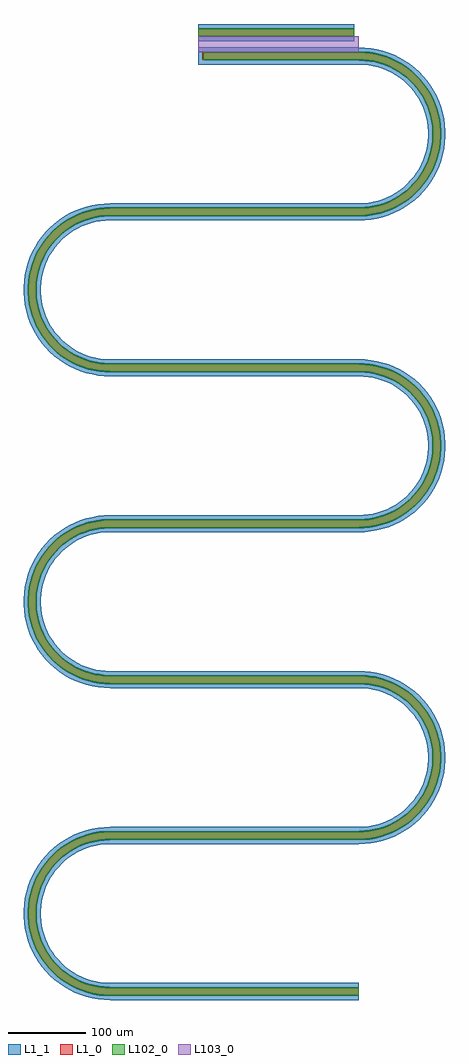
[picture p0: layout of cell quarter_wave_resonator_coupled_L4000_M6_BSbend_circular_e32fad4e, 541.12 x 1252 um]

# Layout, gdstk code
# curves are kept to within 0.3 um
from math import pi, radians
import gdstk
lib = gdstk.Library(unit=1e-6, precision=1e-09)
def R(c, l, rs):  # rectangles x0, y0, x1, y1
    for r in rs: c.add(gdstk.rectangle(r[:2], r[2:], *l))
def P(c, l, *ps):  # polygons
    for p in ps: c.add(gdstk.Polygon(p, *l))
L1_0 = (1, 0)
L1_1 = (1, 1)
L102_0 = (102, 0)
L103_0 = (103, 0)

straight_l200_cscpw_n2 = lib.new_cell('straight_L200_CScpw_N2')
R(straight_l200_cscpw_n2, L1_0, [(0,-5,200,5)])
R(straight_l200_cscpw_n2, L1_1, [(0,-11,200,-5), (0,5,200,11)])
R(straight_l200_cscpw_n2, L102_0, [(0,-5,200,5)])

coupler_straight_l200_g2 = lib.new_cell('coupler_straight_L200_G20_CScpw_CSNRcpw_RO6')
R(coupler_straight_l200_g2, L103_0, [(0,5,206,25)])
coupler_straight_l200_g2.add(gdstk.Reference(straight_l200_cscpw_n2, (6,0)))
coupler_straight_l200_g2.add(gdstk.Reference(straight_l200_cscpw_n2, (0,30)))

rectangle_s6_22_lm1_etch = lib.new_cell('rectangle_S6_22_LM1_ETCH_CTrue_PTNone_PO180_90_0_m90')
R(rectangle_s6_22_lm1_etch, L1_1, [(-3,-11,3,11)])

rectangle_s1_10_lm1_draw = lib.new_cell('rectangle_S1_10_LM1_DRAW_CTrue_PTNone_PO180_90_0_m90')
R(rectangle_s1_10_lm1_draw, L1_0, [(-0.5,-5,0.5,5)])

open_2_port_cscpw = lib.new_cell('open_2_port_CScpw')
open_2_port_cscpw.add(gdstk.Reference(rectangle_s6_22_lm1_etch, (-3,0)))
open_2_port_cscpw.add(gdstk.Reference(rectangle_s1_10_lm1_draw, (-0.5,0)))

resonator_meander_l3800_ = lib.new_cell('resonator_meander_L3800_M6_BSbend_circular_CScpw_EWBFalse')
P(resonator_meander_l3800_, L1_0, [(-903.665,-104.939),(-918.234,-103.408),(-932.448,-99.864),(-939.335,-97.357),(-952.502,-90.935),(-964.646,-82.744),(-975.533,-72.941),(-980.437,-67.495),(-989.048,-55.643),(-995.925,-42.709),(-1000.935,-28.943),(-1003.981,-14.614),(-1005,0),(-1005,319.238),(-1005.928,332.459),(-1008.683,345.423),(-1013.216,357.877),(-1019.438,369.579),(-1027.228,380.301),(-1036.435,389.834),(-1046.878,397.994),(-1058.356,404.621),(-1070.644,409.585),(-1083.504,412.792),(-1090.07,413.715),(-1096.685,414.177),(-1109.93,413.715),(-1122.982,411.413),(-1135.586,407.318),(-1141.644,404.621),(-1153.122,397.994),(-1158.486,394.097),(-1168.335,385.228),(-1172.772,380.301),(-1180.562,369.579),(-1186.784,357.877),(-1189.268,351.729),(-1192.921,338.989),(-1194.072,332.459),(-1195,319.238),(-1195,0),(-1205,0),(-1205,319.238),(-1204.747,326.563),(-1202.708,341.069),(-1198.671,355.151),(-1195.925,361.947),(-1189.048,374.881),(-1180.437,386.733),(-1170.261,397.27),(-1164.646,401.982),(-1152.502,410.173),(-1139.335,416.595),(-1125.403,421.122),(-1110.976,423.666),(-1096.335,424.177),(-1081.766,422.646),(-1067.552,419.102),(-1060.665,416.595),(-1047.498,410.173),(-1035.354,401.982),(-1024.467,392.179),(-1019.563,386.733),(-1010.952,374.881),(-1004.075,361.947),(-1001.329,355.151),(-999.065,348.181),(-996.019,333.852),(-995,319.238),(-995,0),(-994.072,-13.221),(-991.317,-26.185),(-986.784,-38.639),(-980.562,-50.341),(-972.772,-61.063),(-968.335,-65.99),(-958.486,-74.859),(-947.498,-82.27),(-935.586,-88.08),(-922.982,-92.175),(-916.496,-93.554),(-903.315,-94.939),(-890.07,-94.477),(-883.504,-93.554),(-877.018,-92.175),(-864.414,-88.08),(-858.356,-85.383),(-846.878,-78.756),(-841.514,-74.859),(-831.665,-65.99),(-827.228,-61.063),(-819.438,-50.341),(-813.216,-38.639),(-808.683,-26.185),(-807.079,-19.751),(-805.928,-13.221),(-805,0),(-805,319.238),(-804.747,326.563),(-802.708,341.069),(-798.671,355.151),(-795.925,361.947),(-789.048,374.881),(-780.437,386.733),(-770.261,397.27),(-764.646,401.982),(-752.502,410.173),(-739.335,416.595),(-725.403,421.122),(-710.976,423.666),(-703.665,424.177),(-689.024,423.666),(-674.597,421.122),(-660.665,416.595),(-647.498,410.173),(-641.283,406.289),(-635.354,401.982),(-624.467,392.179),(-615.051,380.957),(-610.952,374.881),(-604.075,361.947),(-599.065,348.181),(-596.019,333.852),(-595,319.238),(-595,0),(-594.072,-13.221),(-592.921,-19.751),(-589.268,-32.491),(-586.784,-38.639),(-580.562,-50.341),(-572.772,-61.063),(-568.335,-65.99),(-558.486,-74.859),(-547.498,-82.27),(-541.644,-85.383),(-529.356,-90.347),(-516.496,-93.554),(-509.93,-94.477),(-503.315,-94.939),(-490.07,-94.477),(-483.504,-93.554),(-470.644,-90.347),(-458.356,-85.383),(-452.502,-82.27),(-441.514,-74.859),(-436.435,-70.596),(-427.228,-61.063),(-423.146,-55.838),(-419.438,-50.341),(-413.216,-38.639),(-408.683,-26.185),(-407.079,-19.751),(-405.928,-13.221),(-405,0),(-405,319.238),(-404.747,326.563),(-402.708,341.069),(-398.671,355.151),(-392.712,368.534),(-384.949,380.957),(-375.533,392.179),(-364.646,401.982),(-352.502,410.173),(-339.335,416.595),(-332.448,419.102),(-318.234,422.646),(-303.665,424.177),(-289.024,423.666),(-281.766,422.646),(-267.552,419.102),(-260.665,416.595),(-247.498,410.173),(-235.354,401.982),(-224.467,392.179),(-219.563,386.733),(-210.952,374.881),(-207.288,368.534),(-201.329,355.151),(-199.065,348.181),(-196.019,333.852),(-195,319.238),(-194.766,-6.627),(-192.921,-19.751),(-189.268,-32.491),(-183.877,-44.598),(-176.854,-55.838),(-168.335,-65.99),(-158.486,-74.859),(-153.122,-78.756),(-141.644,-85.383),(-129.356,-90.347),(-116.496,-93.554),(-103.315,-94.939),(-90.07,-94.477),(-83.504,-93.554),(-70.644,-90.347),(-58.356,-85.383),(-46.878,-78.756),(-36.435,-70.596),(-27.228,-61.063),(-19.438,-50.341),(-13.216,-38.639),(-10.732,-32.491),(-7.079,-19.751),(-5.928,-13.221),(-5,0),(5,0),(3.981,-14.614),(0.935,-28.943),(-1.329,-35.913),(-7.288,-49.296),(-15.051,-61.719),(-24.467,-72.941),(-35.354,-82.744),(-47.498,-90.935),(-60.665,-97.357),(-67.552,-99.864),(-81.766,-103.408),(-96.335,-104.939),(-110.976,-104.428),(-118.234,-103.408),(-132.448,-99.864),(-139.335,-97.357),(-152.502,-90.935),(-164.646,-82.744),(-175.533,-72.941),(-184.949,-61.719),(-192.712,-49.296),(-198.671,-35.913),(-202.708,-21.831),(-204.747,-7.325),(-205,319.238),(-205.928,332.459),(-208.683,345.423),(-213.216,357.877),(-219.438,369.579),(-223.146,375.076),(-231.665,385.228),(-241.514,394.097),(-246.878,397.994),(-258.356,404.621),(-264.414,407.318),(-277.018,411.413),(-283.504,412.792),(-296.685,414.177),(-309.93,413.715),(-316.496,412.792),(-329.356,409.585),(-341.644,404.621),(-353.122,397.994),(-358.486,394.097),(-368.335,385.228),(-376.854,375.076),(-383.877,363.836),(-389.268,351.729),(-392.921,338.989),(-394.072,332.459),(-395,319.238),(-395,0),(-395.253,-7.325),(-397.292,-21.831),(-401.329,-35.913),(-404.075,-42.709),(-410.952,-55.643),(-415.051,-61.719),(-419.563,-67.495),(-429.739,-78.032),(-435.354,-82.744),(-447.498,-90.935),(-460.665,-97.357),(-467.552,-99.864),(-481.766,-103.408),(-489.024,-104.428),(-496.335,-104.939),(-510.976,-104.428),(-518.234,-103.408),(-532.448,-99.864),(-539.335,-97.357),(-552.502,-90.935),(-564.646,-82.744),(-575.533,-72.941),(-580.437,-67.495),(-589.048,-55.643),(-595.925,-42.709),(-598.671,-35.913),(-600.935,-28.943),(-603.981,-14.614),(-605,0),(-605,319.238),(-605.928,332.459),(-608.683,345.423),(-613.216,357.877),(-619.438,369.579),(-623.146,375.076),(-631.665,385.228),(-641.514,394.097),(-646.878,397.994),(-658.356,404.621),(-664.414,407.318),(-677.018,411.413),(-690.07,413.715),(-696.685,414.177),(-709.93,413.715),(-722.982,411.413),(-735.586,407.318),(-741.644,404.621),(-753.122,397.994),(-763.565,389.834),(-772.772,380.301),(-780.562,369.579),(-786.784,357.877),(-789.268,351.729),(-792.921,338.989),(-794.072,332.459),(-795,319.238),(-795,0),(-796.019,-14.614),(-799.065,-28.943),(-801.329,-35.913),(-804.075,-42.709),(-810.952,-55.643),(-819.563,-67.495),(-829.739,-78.032),(-841.283,-87.051),(-853.97,-94.376),(-867.552,-99.864),(-881.766,-103.408),(-889.024,-104.428)])
P(resonator_meander_l3800_, L1_1, [(-903.874,-110.939),(-919.276,-109.32),(-934.303,-105.574),(-941.584,-102.924),(-955.503,-96.135),(-968.343,-87.474),(-979.852,-77.112),(-985.036,-71.354),(-994.139,-58.825),(-1001.41,-45.15),(-1006.706,-30.598),(-1009.926,-15.449),(-1011,0),(-1011,319.238),(-1011.873,331.623),(-1014.454,343.768),(-1018.701,355.435),(-1024.529,366.397),(-1031.827,376.442),(-1040.452,385.373),(-1045.21,389.366),(-1055.503,396.308),(-1066.663,401.751),(-1072.5,403.876),(-1084.546,406.879),(-1090.698,407.744),(-1103.106,408.177),(-1109.302,407.744),(-1121.529,405.588),(-1127.5,403.876),(-1139.012,399.225),(-1149.764,393.017),(-1154.79,389.366),(-1159.548,385.373),(-1168.173,376.442),(-1175.471,366.397),(-1178.576,361.018),(-1181.299,355.435),(-1185.546,343.768),(-1188.127,331.623),(-1189,319.238),(-1189,0),(-1195,0),(-1195,319.238),(-1194.072,332.459),(-1192.921,338.989),(-1189.268,351.729),(-1186.784,357.877),(-1180.562,369.579),(-1172.772,380.301),(-1163.565,389.834),(-1153.122,397.994),(-1141.644,404.621),(-1135.586,407.318),(-1122.982,411.413),(-1109.93,413.715),(-1103.315,414.177),(-1090.07,413.715),(-1077.018,411.413),(-1064.414,407.318),(-1058.356,404.621),(-1046.878,397.994),(-1036.435,389.834),(-1027.228,380.301),(-1019.438,369.579),(-1013.216,357.877),(-1010.732,351.729),(-1007.079,338.989),(-1005.928,332.459),(-1005,319.238),(-1005,0),(-1003.981,-14.614),(-1000.935,-28.943),(-995.925,-42.709),(-989.048,-55.643),(-980.437,-67.495),(-975.533,-72.941),(-964.646,-82.744),(-952.502,-90.935),(-939.335,-97.357),(-932.448,-99.864),(-918.234,-103.408),(-903.665,-104.939),(-889.024,-104.428),(-881.766,-103.408),(-867.552,-99.864),(-860.665,-97.357),(-847.498,-90.935),(-841.283,-87.051),(-835.354,-82.744),(-824.467,-72.941),(-819.563,-67.495),(-810.952,-55.643),(-804.075,-42.709),(-801.329,-35.913),(-797.292,-21.831),(-795.253,-7.325),(-795,0),(-795,319.238),(-794.072,332.459),(-792.921,338.989),(-789.268,351.729),(-786.784,357.877),(-780.562,369.579),(-772.772,380.301),(-763.565,389.834),(-753.122,397.994),(-741.644,404.621),(-735.586,407.318),(-722.982,411.413),(-709.93,413.715),(-703.315,414.177),(-690.07,413.715),(-677.018,411.413),(-664.414,407.318),(-658.356,404.621),(-646.878,397.994),(-641.514,394.097),(-631.665,385.228),(-623.146,375.076),(-619.438,369.579),(-613.216,357.877),(-608.683,345.423),(-605.928,332.459),(-605,319.238),(-605,0),(-603.981,-14.614),(-600.935,-28.943),(-598.671,-35.913),(-595.925,-42.709),(-589.048,-55.643),(-580.437,-67.495),(-575.533,-72.941),(-564.646,-82.744),(-552.502,-90.935),(-539.335,-97.357),(-532.448,-99.864),(-518.234,-103.408),(-510.976,-104.428),(-503.665,-104.939),(-489.024,-104.428),(-481.766,-103.408),(-467.552,-99.864),(-460.665,-97.357),(-447.498,-90.935),(-435.354,-82.744),(-429.739,-78.032),(-419.563,-67.495),(-415.051,-61.719),(-410.952,-55.643),(-404.075,-42.709),(-401.329,-35.913),(-397.292,-21.831),(-395.253,-7.325),(-395,0),(-395,319.238),(-394.072,332.459),(-392.921,338.989),(-389.268,351.729),(-383.877,363.836),(-376.854,375.076),(-368.335,385.228),(-358.486,394.097),(-353.122,397.994),(-341.644,404.621),(-329.356,409.585),(-316.496,412.792),(-303.315,414.177),(-290.07,413.715),(-283.504,412.792),(-277.018,411.413),(-264.414,407.318),(-258.356,404.621),(-246.878,397.994),(-241.514,394.097),(-231.665,385.228),(-223.146,375.076),(-219.438,369.579),(-213.216,357.877),(-208.683,345.423),(-205.928,332.459),(-205,319.238),(-204.747,-7.325),(-202.708,-21.831),(-198.671,-35.913),(-195.925,-42.709),(-189.048,-55.643),(-180.437,-67.495),(-170.261,-78.032),(-158.717,-87.051),(-146.03,-94.376),(-132.448,-99.864),(-118.234,-103.408),(-103.665,-104.939),(-89.024,-104.428),(-81.766,-103.408),(-67.552,-99.864),(-53.97,-94.376),(-41.283,-87.051),(-29.739,-78.032),(-19.563,-67.495),(-10.952,-55.643),(-4.075,-42.709),(-1.329,-35.913),(0.935,-28.943),(3.981,-14.614),(5,0),(11,0),(9.926,-15.449),(6.706,-30.598),(1.41,-45.15),(-5.861,-58.825),(-14.964,-71.354),(-25.722,-82.494),(-37.926,-92.029),(-44.497,-96.135),(-58.416,-102.924),(-73.145,-107.709),(-88.397,-110.399),(-96.126,-110.939),(-111.603,-110.399),(-126.855,-107.709),(-141.584,-102.924),(-155.503,-96.135),(-162.074,-92.029),(-174.278,-82.494),(-185.036,-71.354),(-194.139,-58.825),(-201.41,-45.15),(-204.312,-37.967),(-208.581,-23.08),(-210.736,-7.743),(-211,319.238),(-211.873,331.623),(-214.454,343.768),(-218.701,355.435),(-221.424,361.018),(-228.003,371.547),(-231.827,376.442),(-240.452,385.373),(-250.236,393.017),(-260.988,399.225),(-272.5,403.876),(-278.471,405.588),(-290.698,407.744),(-296.894,408.177),(-309.302,407.744),(-315.454,406.879),(-327.5,403.876),(-339.012,399.225),(-349.764,393.017),(-359.548,385.373),(-368.173,376.442),(-375.471,366.397),(-381.299,355.435),(-385.546,343.768),(-387.049,337.741),(-388.127,331.623),(-389,319.238),(-389,0),(-389.264,-7.743),(-391.419,-23.08),(-395.688,-37.967),(-398.59,-45.15),(-405.861,-58.825),(-410.194,-65.248),(-420.148,-77.112),(-425.722,-82.494),(-437.926,-92.029),(-444.497,-96.135),(-458.416,-102.924),(-465.697,-105.574),(-480.724,-109.32),(-488.397,-110.399),(-496.126,-110.939),(-511.603,-110.399),(-519.276,-109.32),(-534.303,-105.574),(-541.584,-102.924),(-555.503,-96.135),(-568.343,-87.474),(-579.852,-77.112),(-585.036,-71.354),(-594.139,-58.825),(-601.41,-45.15),(-604.312,-37.967),(-608.581,-23.08),(-609.926,-15.449),(-611,0),(-611,319.238),(-611.873,331.623),(-614.454,343.768),(-618.701,355.435),(-621.424,361.018),(-628.003,371.547),(-631.827,376.442),(-640.452,385.373),(-650.236,393.017),(-660.988,399.225),(-672.5,403.876),(-678.471,405.588),(-690.698,407.744),(-696.894,408.177),(-709.302,407.744),(-721.529,405.588),(-727.5,403.876),(-739.012,399.225),(-749.764,393.017),(-759.548,385.373),(-768.173,376.442),(-775.471,366.397),(-781.299,355.435),(-785.546,343.768),(-787.049,337.741),(-788.127,331.623),(-789,319.238),(-789,0),(-790.074,-15.449),(-791.419,-23.08),(-795.688,-37.967),(-798.59,-45.15),(-805.861,-58.825),(-814.964,-71.354),(-825.722,-82.494),(-837.926,-92.029),(-851.338,-99.772),(-865.697,-105.574),(-880.724,-109.32),(-888.397,-110.399)],
  [(-903.315,-94.939),(-916.496,-93.554),(-922.982,-92.175),(-935.586,-88.08),(-947.498,-82.27),(-958.486,-74.859),(-968.335,-65.99),(-972.772,-61.063),(-980.562,-50.341),(-986.784,-38.639),(-991.317,-26.185),(-994.072,-13.221),(-995,0),(-995,319.238),(-996.019,333.852),(-999.065,348.181),(-1004.075,361.947),(-1010.952,374.881),(-1019.563,386.733),(-1029.739,397.27),(-1041.283,406.289),(-1053.97,413.614),(-1067.552,419.102),(-1081.766,422.646),(-1089.024,423.666),(-1096.335,424.177),(-1110.976,423.666),(-1118.234,422.646),(-1132.448,419.102),(-1146.03,413.614),(-1152.502,410.173),(-1164.646,401.982),(-1175.533,392.179),(-1180.437,386.733),(-1189.048,374.881),(-1195.925,361.947),(-1198.671,355.151),(-1200.935,348.181),(-1203.981,333.852),(-1205,319.238),(-1205,0),(-1211,0),(-1211,319.238),(-1210.736,326.981),(-1208.581,342.318),(-1204.312,357.205),(-1201.41,364.388),(-1194.139,378.063),(-1185.036,390.592),(-1174.278,401.732),(-1162.074,411.267),(-1155.503,415.373),(-1141.584,422.162),(-1126.855,426.947),(-1111.603,429.637),(-1103.874,430.177),(-1088.397,429.637),(-1073.145,426.947),(-1058.416,422.162),(-1044.497,415.373),(-1037.926,411.267),(-1025.722,401.732),(-1014.964,390.592),(-1005.861,378.063),(-998.59,364.388),(-995.688,357.205),(-991.419,342.318),(-990.074,334.687),(-989,319.238),(-989,0),(-988.127,-12.385),(-985.546,-24.53),(-981.299,-36.197),(-975.471,-47.159),(-968.173,-57.204),(-959.548,-66.135),(-954.79,-70.128),(-944.497,-77.07),(-933.337,-82.513),(-921.529,-86.35),(-909.302,-88.506),(-903.106,-88.939),(-890.698,-88.506),(-884.546,-87.641),(-872.5,-84.638),(-866.663,-82.513),(-860.988,-79.987),(-850.236,-73.779),(-840.452,-66.135),(-831.827,-57.204),(-828.003,-52.309),(-824.529,-47.159),(-818.701,-36.197),(-814.454,-24.53),(-812.951,-18.503),(-811.873,-12.385),(-811,0),(-811,319.238),(-810.736,326.981),(-808.581,342.318),(-804.312,357.205),(-801.41,364.388),(-794.139,378.063),(-785.036,390.592),(-774.278,401.732),(-762.074,411.267),(-755.503,415.373),(-741.584,422.162),(-726.855,426.947),(-711.603,429.637),(-703.874,430.177),(-688.397,429.637),(-673.145,426.947),(-658.416,422.162),(-644.497,415.373),(-637.926,411.267),(-625.722,401.732),(-614.964,390.592),(-605.861,378.063),(-598.59,364.388),(-595.688,357.205),(-591.419,342.318),(-590.074,334.687),(-589,319.238),(-589,0),(-588.127,-12.385),(-587.049,-18.503),(-583.626,-30.437),(-581.299,-36.197),(-575.471,-47.159),(-568.173,-57.204),(-559.548,-66.135),(-554.79,-70.128),(-544.497,-77.07),(-539.012,-79.987),(-527.5,-84.638),(-521.529,-86.35),(-509.302,-88.506),(-503.106,-88.939),(-490.698,-88.506),(-478.471,-86.35),(-472.5,-84.638),(-460.988,-79.987),(-455.503,-77.07),(-445.21,-70.128),(-440.452,-66.135),(-431.827,-57.204),(-428.003,-52.309),(-424.529,-47.159),(-418.701,-36.197),(-414.454,-24.53),(-412.951,-18.503),(-411.873,-12.385),(-411,0),(-411,319.238),(-410.736,326.981),(-408.581,342.318),(-404.312,357.205),(-398.013,371.352),(-389.806,384.486),(-379.852,396.35),(-368.343,406.712),(-355.503,415.373),(-341.584,422.162),(-334.303,424.812),(-319.276,428.558),(-303.874,430.177),(-288.397,429.637),(-280.724,428.558),(-265.697,424.812),(-258.416,422.162),(-244.497,415.373),(-237.926,411.267),(-231.657,406.712),(-220.148,396.35),(-210.194,384.486),(-205.861,378.063),(-198.59,364.388),(-193.294,349.836),(-190.074,334.687),(-189,319.238),(-188.777,-6.208),(-187.049,-18.503),(-183.626,-30.437),(-178.576,-41.78),(-171.997,-52.309),(-164.016,-61.82),(-154.79,-70.128),(-149.764,-73.779),(-139.012,-79.987),(-127.5,-84.638),(-115.454,-87.641),(-103.106,-88.939),(-90.698,-88.506),(-78.471,-86.35),(-72.5,-84.638),(-60.988,-79.987),(-50.236,-73.779),(-40.452,-66.135),(-31.827,-57.204),(-24.529,-47.159),(-18.701,-36.197),(-16.374,-30.437),(-12.951,-18.503),(-11.873,-12.385),(-11,0),(-5,0),(-5.928,-13.221),(-7.079,-19.751),(-10.732,-32.491),(-16.123,-44.598),(-23.146,-55.838),(-31.665,-65.99),(-41.514,-74.859),(-46.878,-78.756),(-58.356,-85.383),(-70.644,-90.347),(-83.504,-93.554),(-96.685,-94.939),(-109.93,-94.477),(-116.496,-93.554),(-129.356,-90.347),(-141.644,-85.383),(-153.122,-78.756),(-158.486,-74.859),(-168.335,-65.99),(-176.854,-55.838),(-183.877,-44.598),(-189.268,-32.491),(-192.921,-19.751),(-194.766,-6.627),(-195,319.238),(-196.019,333.852),(-199.065,348.181),(-201.329,355.151),(-207.288,368.534),(-210.952,374.881),(-219.563,386.733),(-224.467,392.179),(-235.354,401.982),(-247.498,410.173),(-260.665,416.595),(-267.552,419.102),(-281.766,422.646),(-296.335,424.177),(-310.976,423.666),(-318.234,422.646),(-332.448,419.102),(-339.335,416.595),(-352.502,410.173),(-364.646,401.982),(-375.533,392.179),(-384.949,380.957),(-392.712,368.534),(-398.671,355.151),(-402.708,341.069),(-404.747,326.563),(-405,319.238),(-405,0),(-405.928,-13.221),(-407.079,-19.751),(-408.683,-26.185),(-413.216,-38.639),(-419.438,-50.341),(-423.146,-55.838),(-427.228,-61.063),(-436.435,-70.596),(-441.514,-74.859),(-452.502,-82.27),(-458.356,-85.383),(-470.644,-90.347),(-483.504,-93.554),(-490.07,-94.477),(-496.685,-94.939),(-509.93,-94.477),(-516.496,-93.554),(-529.356,-90.347),(-541.644,-85.383),(-547.498,-82.27),(-558.486,-74.859),(-568.335,-65.99),(-572.772,-61.063),(-580.562,-50.341),(-586.784,-38.639),(-589.268,-32.491),(-592.921,-19.751),(-594.072,-13.221),(-595,0),(-595,319.238),(-596.019,333.852),(-599.065,348.181),(-604.075,361.947),(-610.952,374.881),(-615.051,380.957),(-624.467,392.179),(-635.354,401.982),(-641.283,406.289),(-647.498,410.173),(-660.665,416.595),(-674.597,421.122),(-689.024,423.666),(-696.335,424.177),(-710.976,423.666),(-725.403,421.122),(-739.335,416.595),(-752.502,410.173),(-764.646,401.982),(-770.261,397.27),(-780.437,386.733),(-789.048,374.881),(-795.925,361.947),(-798.671,355.151),(-802.708,341.069),(-804.747,326.563),(-805,319.238),(-805,0),(-805.928,-13.221),(-807.079,-19.751),(-810.732,-32.491),(-813.216,-38.639),(-819.438,-50.341),(-827.228,-61.063),(-836.435,-70.596),(-846.878,-78.756),(-858.356,-85.383),(-864.414,-88.08),(-877.018,-92.175),(-890.07,-94.477)])
P(resonator_meander_l3800_, L102_0, [(-903.665,-104.939),(-918.234,-103.408),(-932.448,-99.864),(-939.335,-97.357),(-952.502,-90.935),(-964.646,-82.744),(-975.533,-72.941),(-980.437,-67.495),(-989.048,-55.643),(-995.925,-42.709),(-1000.935,-28.943),(-1003.981,-14.614),(-1005,0),(-1005,319.238),(-1005.928,332.459),(-1008.683,345.423),(-1013.216,357.877),(-1019.438,369.579),(-1027.228,380.301),(-1036.435,389.834),(-1046.878,397.994),(-1058.356,404.621),(-1070.644,409.585),(-1083.504,412.792),(-1090.07,413.715),(-1096.685,414.177),(-1109.93,413.715),(-1122.982,411.413),(-1135.586,407.318),(-1141.644,404.621),(-1153.122,397.994),(-1158.486,394.097),(-1168.335,385.228),(-1172.772,380.301),(-1180.562,369.579),(-1186.784,357.877),(-1189.268,351.729),(-1192.921,338.989),(-1194.072,332.459),(-1195,319.238),(-1195,0),(-1205,0),(-1205,319.238),(-1204.747,326.563),(-1202.708,341.069),(-1198.671,355.151),(-1195.925,361.947),(-1189.048,374.881),(-1180.437,386.733),(-1170.261,397.27),(-1164.646,401.982),(-1152.502,410.173),(-1139.335,416.595),(-1125.403,421.122),(-1110.976,423.666),(-1096.335,424.177),(-1081.766,422.646),(-1067.552,419.102),(-1060.665,416.595),(-1047.498,410.173),(-1035.354,401.982),(-1024.467,392.179),(-1019.563,386.733),(-1010.952,374.881),(-1004.075,361.947),(-1001.329,355.151),(-999.065,348.181),(-996.019,333.852),(-995,319.238),(-995,0),(-994.072,-13.221),(-991.317,-26.185),(-986.784,-38.639),(-980.562,-50.341),(-972.772,-61.063),(-968.335,-65.99),(-958.486,-74.859),(-947.498,-82.27),(-935.586,-88.08),(-922.982,-92.175),(-916.496,-93.554),(-903.315,-94.939),(-890.07,-94.477),(-883.504,-93.554),(-877.018,-92.175),(-864.414,-88.08),(-858.356,-85.383),(-846.878,-78.756),(-841.514,-74.859),(-831.665,-65.99),(-827.228,-61.063),(-819.438,-50.341),(-813.216,-38.639),(-808.683,-26.185),(-807.079,-19.751),(-805.928,-13.221),(-805,0),(-805,319.238),(-804.747,326.563),(-802.708,341.069),(-798.671,355.151),(-795.925,361.947),(-789.048,374.881),(-780.437,386.733),(-770.261,397.27),(-764.646,401.982),(-752.502,410.173),(-739.335,416.595),(-725.403,421.122),(-710.976,423.666),(-703.665,424.177),(-689.024,423.666),(-674.597,421.122),(-660.665,416.595),(-647.498,410.173),(-641.283,406.289),(-635.354,401.982),(-624.467,392.179),(-615.051,380.957),(-610.952,374.881),(-604.075,361.947),(-599.065,348.181),(-596.019,333.852),(-595,319.238),(-595,0),(-594.072,-13.221),(-592.921,-19.751),(-589.268,-32.491),(-586.784,-38.639),(-580.562,-50.341),(-572.772,-61.063),(-568.335,-65.99),(-558.486,-74.859),(-547.498,-82.27),(-541.644,-85.383),(-529.356,-90.347),(-516.496,-93.554),(-509.93,-94.477),(-503.315,-94.939),(-490.07,-94.477),(-483.504,-93.554),(-470.644,-90.347),(-458.356,-85.383),(-452.502,-82.27),(-441.514,-74.859),(-436.435,-70.596),(-427.228,-61.063),(-423.146,-55.838),(-419.438,-50.341),(-413.216,-38.639),(-408.683,-26.185),(-407.079,-19.751),(-405.928,-13.221),(-405,0),(-405,319.238),(-404.747,326.563),(-402.708,341.069),(-398.671,355.151),(-392.712,368.534),(-384.949,380.957),(-375.533,392.179),(-364.646,401.982),(-352.502,410.173),(-339.335,416.595),(-332.448,419.102),(-318.234,422.646),(-303.665,424.177),(-289.024,423.666),(-281.766,422.646),(-267.552,419.102),(-260.665,416.595),(-247.498,410.173),(-235.354,401.982),(-224.467,392.179),(-219.563,386.733),(-210.952,374.881),(-207.288,368.534),(-201.329,355.151),(-199.065,348.181),(-196.019,333.852),(-195,319.238),(-194.766,-6.627),(-192.921,-19.751),(-189.268,-32.491),(-183.877,-44.598),(-176.854,-55.838),(-168.335,-65.99),(-158.486,-74.859),(-153.122,-78.756),(-141.644,-85.383),(-129.356,-90.347),(-116.496,-93.554),(-103.315,-94.939),(-90.07,-94.477),(-83.504,-93.554),(-70.644,-90.347),(-58.356,-85.383),(-46.878,-78.756),(-36.435,-70.596),(-27.228,-61.063),(-19.438,-50.341),(-13.216,-38.639),(-10.732,-32.491),(-7.079,-19.751),(-5.928,-13.221),(-5,0),(5,0),(3.981,-14.614),(0.935,-28.943),(-1.329,-35.913),(-7.288,-49.296),(-15.051,-61.719),(-24.467,-72.941),(-35.354,-82.744),(-47.498,-90.935),(-60.665,-97.357),(-67.552,-99.864),(-81.766,-103.408),(-96.335,-104.939),(-110.976,-104.428),(-118.234,-103.408),(-132.448,-99.864),(-139.335,-97.357),(-152.502,-90.935),(-164.646,-82.744),(-175.533,-72.941),(-184.949,-61.719),(-192.712,-49.296),(-198.671,-35.913),(-202.708,-21.831),(-204.747,-7.325),(-205,319.238),(-205.928,332.459),(-208.683,345.423),(-213.216,357.877),(-219.438,369.579),(-223.146,375.076),(-231.665,385.228),(-241.514,394.097),(-246.878,397.994),(-258.356,404.621),(-264.414,407.318),(-277.018,411.413),(-283.504,412.792),(-296.685,414.177),(-309.93,413.715),(-316.496,412.792),(-329.356,409.585),(-341.644,404.621),(-353.122,397.994),(-358.486,394.097),(-368.335,385.228),(-376.854,375.076),(-383.877,363.836),(-389.268,351.729),(-392.921,338.989),(-394.072,332.459),(-395,319.238),(-395,0),(-395.253,-7.325),(-397.292,-21.831),(-401.329,-35.913),(-404.075,-42.709),(-410.952,-55.643),(-415.051,-61.719),(-419.563,-67.495),(-429.739,-78.032),(-435.354,-82.744),(-447.498,-90.935),(-460.665,-97.357),(-467.552,-99.864),(-481.766,-103.408),(-489.024,-104.428),(-496.335,-104.939),(-510.976,-104.428),(-518.234,-103.408),(-532.448,-99.864),(-539.335,-97.357),(-552.502,-90.935),(-564.646,-82.744),(-575.533,-72.941),(-580.437,-67.495),(-589.048,-55.643),(-595.925,-42.709),(-598.671,-35.913),(-600.935,-28.943),(-603.981,-14.614),(-605,0),(-605,319.238),(-605.928,332.459),(-608.683,345.423),(-613.216,357.877),(-619.438,369.579),(-623.146,375.076),(-631.665,385.228),(-641.514,394.097),(-646.878,397.994),(-658.356,404.621),(-664.414,407.318),(-677.018,411.413),(-690.07,413.715),(-696.685,414.177),(-709.93,413.715),(-722.982,411.413),(-735.586,407.318),(-741.644,404.621),(-753.122,397.994),(-763.565,389.834),(-772.772,380.301),(-780.562,369.579),(-786.784,357.877),(-789.268,351.729),(-792.921,338.989),(-794.072,332.459),(-795,319.238),(-795,0),(-796.019,-14.614),(-799.065,-28.943),(-801.329,-35.913),(-804.075,-42.709),(-810.952,-55.643),(-819.563,-67.495),(-829.739,-78.032),(-841.283,-87.051),(-853.97,-94.376),(-867.552,-99.864),(-881.766,-103.408),(-889.024,-104.428)])

short = lib.new_cell('short')

quarter_wave_resonator_c = lib.new_cell('quarter_wave_resonator_coupled_L4000_M6_BSbend_circular_e32fad4e')
quarter_wave_resonator_c.add(gdstk.Reference(coupler_straight_l200_g2, (0,-30)))
quarter_wave_resonator_c.add(gdstk.Reference(open_2_port_cscpw, (6,-30)))
quarter_wave_resonator_c.add(gdstk.Reference(resonator_meander_l3800_, (206,-30), rotation=pi/2))
quarter_wave_resonator_c.add(gdstk.Reference(short, (206,-1230)))

lib.write_gds('quarter_wave_resonator_coupled_L4000_M6_BSbend_circular_e32fad4e.gds')
